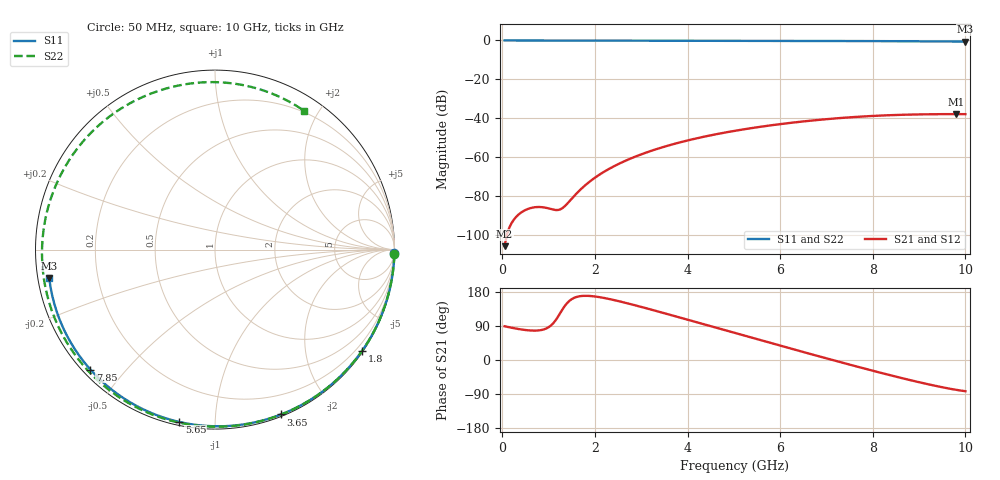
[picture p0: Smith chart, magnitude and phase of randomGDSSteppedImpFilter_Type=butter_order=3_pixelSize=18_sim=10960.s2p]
! freq	dB(S11)	phase(S11)	dB(S12)	phase(S12)
!  dB(S21)	phase(S21)	dB(S22)	phase(S22)
!S-par simulation data
#  GHz  S  DB  R 50
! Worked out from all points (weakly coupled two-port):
!   200 points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, 50 MHz to 10 GHz, reference 50 ohm
!   highest |S21| = -37.89 dB at 9.8 GHz (marker M1); lowest = -105.8 dB at 50 MHz (marker M2)
!   lowest |S11| = -0.6 dB at 10 GHz (marker M3), VSWR 30.81, Z = 1.63 - j4.25 ohm
!   |S11| at or under -10 dB: nowhere
!   |S22| runs from -0.7 to 0.0 dB; largest |S21 - S12| = 0
!   S11 on the Smith chart (normalised r, x): 50 MHz: open; 1.8 GHz: 0.03, -3.21; 3.65 GHz: 0.02, -1.48; 5.65 GHz: 0.02, -0.81; 7.85 GHz: 0.02, -0.40; 10 GHz: 0.03, -0.08
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0.05  -0.00 -1.0  -105.85 89.0  -105.85 89.0  -0.00 -1.5
0.75  -0.02 -14.6  -85.72 77.7  -85.72 77.7  -0.03 -22.7
1.55  -0.04 -29.9  -80.09 163.9  -80.09 163.9  -0.06 -46.4
1.75  -0.04 -33.7  -75.35 169.3  -75.35 169.3  -0.07 -52.2
1.8  -0.04 -34.6  -74.31 169.4  -74.31 169.4  -0.07 -53.7
2.1  -0.05 -40.2  -69.01 165.8  -69.01 165.8  -0.08 -62.2
2.45  -0.06 -46.7  -64.26 157.1  -64.26 157.1  -0.09 -72.1
2.9  -0.07 -54.9  -59.51 143.4  -59.51 143.4  -0.11 -84.4
3.4  -0.08 -63.8  -55.38 126.8  -55.38 126.8  -0.13 -97.9
3.65  -0.09 -68.2  -53.63 118.3  -53.63 118.3  -0.14 -104.5
4.35  -0.11 -80.2  -49.56 94.3  -49.56 94.3  -0.17 -122.9
5.05  -0.14 -91.9  -46.37 70.2  -46.37 70.2  -0.21 -141.1
5.65  -0.17 -101.6  -44.16 49.7  -44.16 49.7  -0.25 -156.8
6.2  -0.20 -110.4  -42.47 31.1  -42.47 31.1  -0.29 -171.6
6.7  -0.23 -118.2  -41.17 14.3  -41.17 14.3  -0.34 174.4
7.3  -0.28 -127.6  -39.91 -5.6  -39.91 -5.6  -0.39 156.8
7.85  -0.32 -136.1  -39.03 -23.5  -39.03 -23.5  -0.44 139.4
8.35  -0.37 -143.9  -38.47 -39.3  -38.47 -39.3  -0.50 122.3
9.1  -0.45 -155.7  -38.01 -61.4  -38.01 -61.4  -0.59 94.5
9.45  -0.49 -161.3  -37.92 -70.7  -37.92 -70.7  -0.63 80.5
9.8  -0.54 -167.0  -37.89 -78.7  -37.89 -78.7  -0.69 65.9
10  -0.56 -170.3  -37.92 -82.4  -37.92 -82.4  -0.74 57.4
